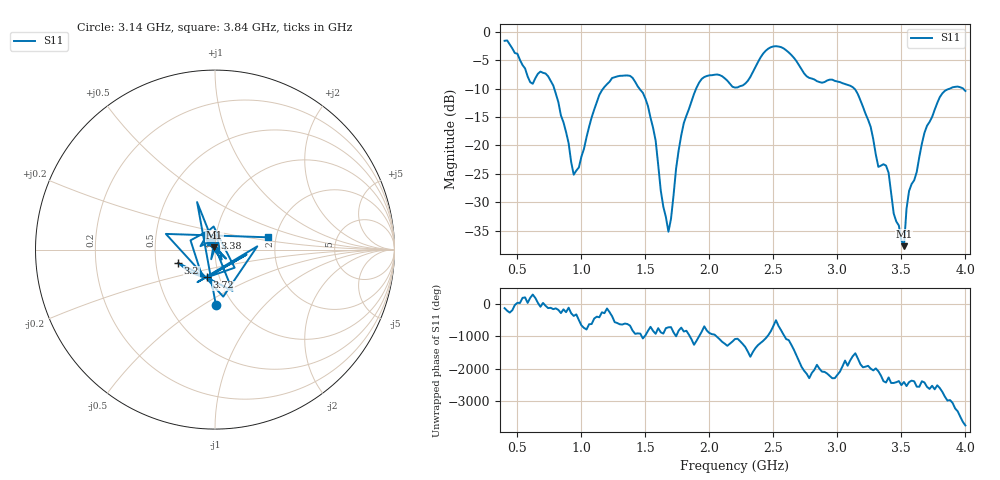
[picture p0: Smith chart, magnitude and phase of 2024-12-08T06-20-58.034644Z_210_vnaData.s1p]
!Created with skrf (http://scikit-rf.org).
# Hz S RI R 50.0
!freq ReS11 ImS11
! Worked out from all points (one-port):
!   181 points, 400 MHz to 4 GHz, reference 50 ohm
!   lowest |S11| = -37.7 dB at 3.52 GHz (marker M1), VSWR 1.03, Z = 49.6 + j1.22 ohm
!   |S11| at or under -10 dB: 787.8 MHz to 1.17 GHz (382.2 MHz wide, 39 % of centre); 1.453 GHz to 1.897 GHz (443.4 MHz wide, 26.5 % of centre); 3.132 GHz to 3.878 GHz (746.3 MHz wide, 21.3 % of centre) (the widest 3 of 4)
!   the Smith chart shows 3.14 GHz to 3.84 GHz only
!   S11 on the Smith chart (normalised r, x): 3.14 GHz: 0.83, -0.57; 3.2 GHz: 0.65, -0.10; 3.38 GHz: 0.99, +0.13; 3.72 GHz: 0.87, -0.28; 3.84 GHz: 1.81, +0.27
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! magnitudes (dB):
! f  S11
! 400 MHz  -1.6
! 600 MHz  -8.9
! 740 MHz  -7.8
! 860 MHz  -15.9
! 940 MHz  -25.2
! 1.14 GHz  -11.1
! 1.3 GHz  -7.7
! 1.52 GHz  -13.1
! 1.58 GHz  -19.2
! 1.62 GHz  -27.9
! 1.68 GHz  -35.2
! 1.76 GHz  -20.8
! 1.94 GHz  -8.3
! 2.2 GHz  -9.8
! 2.48 GHz  -2.7
! 2.66 GHz  -4.6
! 2.78 GHz  -8.1
! 3.1 GHz  -9.5
! 3.14 GHz  -10.2
! 3.2 GHz  -13.2
! 3.32 GHz  -23.8
! 3.38 GHz  -23.6
! 3.44 GHz  -32.0
! 3.52 GHz  -37.7
! 3.56 GHz  -28.0
! 3.72 GHz  -15.9
! 3.84 GHz  -10.4
! 4 GHz  -10.4
